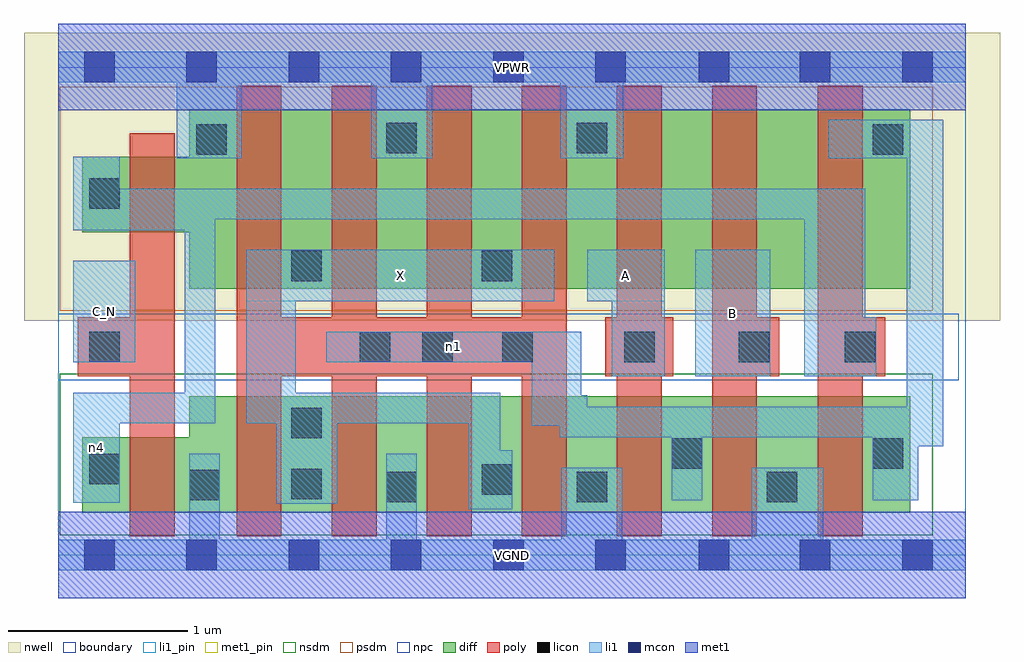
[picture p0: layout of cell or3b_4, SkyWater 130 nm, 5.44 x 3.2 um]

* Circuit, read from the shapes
.subckt or3b_4 A B C_N VGND VPWR X n1 n4
XM1 VGND C_N n4 VSUBS sky130_fd_pr__nfet_01v8 w=0.42 l=0.25
XM2 X n1 VGND VSUBS sky130_fd_pr__nfet_01v8 w=0.65 l=0.25 m=4
XM3 n1 A VGND VSUBS sky130_fd_pr__nfet_01v8 w=0.65 l=0.25
XM4 VGND B n1 VSUBS sky130_fd_pr__nfet_01v8 w=0.65 l=0.25
XM5 n1 n4 VGND VSUBS sky130_fd_pr__nfet_01v8 w=0.65 l=0.25
XM6 VPWR C_N n4 n2 sky130_fd_pr__pfet_01v8 w=0.42 l=0.25
XM7 X n1 VPWR n2 sky130_fd_pr__pfet_01v8 w=1 l=0.25 m=4
XM8 n3 A VPWR n2 sky130_fd_pr__pfet_01v8 w=1 l=0.25
XM9 n5 B n3 n2 sky130_fd_pr__pfet_01v8 w=1 l=0.25
XM10 n1 n4 n5 n2 sky130_fd_pr__pfet_01v8 w=1 l=0.25
.ends

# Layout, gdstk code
import gdstk
lib = gdstk.Library(unit=1e-6, precision=1e-09)
def R(c, l, rs):  # rectangles x0, y0, x1, y1
    for r in rs: c.add(gdstk.rectangle(r[:2], r[2:], *l))
def A(c, l, x, y, w, h, nx, ny, dx, dy):  # array of equal rectangles
    R(c, l, [(x+i*dx, y+j*dy, x+i*dx+w, y+j*dy+h) for i in range(nx) for j in range(ny)])
nwell = (64, 20)
diff = (65, 20)
poly = (66, 20)
licon = (66, 44)
li1_pin = (67, 16)
li1 = (67, 20)
mcon = (67, 44)
met1_pin = (68, 16)
met1 = (68, 20)
nsdm = (93, 44)
psdm = (94, 20)
npc = (95, 20)
boundary = (235, 4)

or3b_4 = lib.new_cell('or3b_4')
R(or3b_4, nwell, [(-0.19,1.305,5.25,2.91), (0,1.305,5.06,2.91)])
R(or3b_4, diff, [(0.135,0.235,4.75,0.655), (0.73,0.235,4.75,0.885), (0.73,1.485,4.75,2.485), (0.135,1.8,4.75,2.22)])
A(or3b_4, poly, 0.995, 0.105, 0.25, 2.51, 6, 1, 0.53, 0)
R(or3b_4, poly, [(0.4,0.105,0.65,2.35), (4.235,0.105,4.485,2.615), (0.11,0.995,0.65,1.325), (0.995,0.995,2.835,1.325), (3.05,0.995,3.43,1.325), (3.645,0.995,4.02,1.325), (4.235,0.995,4.61,1.325)])
A(or3b_4, licon, 1.83, 0.295, 0.17, 0.17, 3, 1, 1.06, 0)
R(or3b_4, licon, [(0.73,0.305,0.9,0.475), (1.3,0.31,1.47,0.48), (2.36,0.335,2.53,0.505), (0.175,0.395,0.345,0.565), (3.42,0.48,3.59,0.65), (4.54,0.48,4.71,0.65), (1.3,0.65,1.47,0.82), (0.175,1.075,0.345,1.245), (1.68,1.075,1.85,1.245), (2.03,1.075,2.2,1.245), (2.475,1.075,2.645,1.245), (3.155,1.075,3.325,1.245), (3.795,1.075,3.965,1.245), (4.385,1.075,4.555,1.245), (1.3,1.525,1.47,1.695), (2.36,1.525,2.53,1.695), (0.175,1.93,0.345,2.1), (0.77,2.23,0.94,2.4), (4.54,2.23,4.71,2.4), (1.83,2.24,2,2.41), (2.89,2.24,3.06,2.41)])
R(or3b_4, li1_pin, [(3.55,0.995,3.97,1.7), (0.085,1.075,0.43,1.64), (1.05,1.415,2.765,1.7), (2.95,1.415,3.38,1.7)])
R(or3b_4, li1, [(0,-0.085,5.06,0.085), (0.73,-0.085,0.9,0.565), (1.83,-0.085,2,0.565), (2.805,-0.085,3.145,0.485), (3.865,-0.085,4.265,0.485), (2.29,0.255,2.465,0.905), (2.29,0.255,2.53,0.585), (1.215,0.285,1.555,0.905), (0.085,0.29,0.345,0.905), (3.42,0.305,3.59,0.825), (4.54,0.305,4.795,0.825), (4.73,0.605,4.935,2.425), (2.795,0.655,4.935,0.825), (2.64,0.72,2.915,1.245), (2.64,0.72,2.95,0.89), (0.085,0.735,0.875,0.905), (0.705,0.735,0.875,2.04), (1.05,0.735,2.465,0.905), (1.05,0.735,1.325,1.7), (3.085,0.995,3.38,1.7), (3.55,0.995,3.97,1.7), (4.16,0.995,4.5,2.04), (4.16,0.995,4.56,1.325), (0.085,1.075,0.43,1.64), (1.495,1.075,2.915,1.245), (1.05,1.415,2.765,1.7), (2.95,1.415,3.38,1.7), (0.085,1.81,0.345,2.22), (0.085,1.81,0.875,2.04), (0.085,1.87,4.5,2.04), (0.66,2.21,1.025,2.805), (1.745,2.21,2.085,2.805), (2.8,2.21,3.15,2.805), (4.295,2.21,4.935,2.425), (0,2.635,5.06,2.805)])
A(or3b_4, mcon, 0.145, -0.085, 0.17, 0.17, 6, 2, 0.57, 2.72)
R(or3b_4, mcon, [(3.57,-0.085,3.74,0.085), (4.135,-0.085,4.305,0.085), (4.705,-0.085,4.875,0.085), (3.57,2.635,3.74,2.805), (4.135,2.635,4.305,2.805), (4.705,2.635,4.875,2.805)])
R(or3b_4, met1_pin, [(0,-0.24,5.06,0.24), (0,2.48,5.06,2.96)])
R(or3b_4, met1, [(0,-0.24,5.06,0.24), (0,2.48,5.06,2.96)])
R(or3b_4, nsdm, [(0.01,0.11,4.875,1.01)])
R(or3b_4, psdm, [(0.01,1.36,4.875,2.61)])
R(or3b_4, npc, [(0,0.975,5.02,1.345)])
R(or3b_4, boundary, [(0,0,5.06,2.72)])
or3b_4.add(gdstk.Label('A', (3.165,1.557), layer=67, texttype=5))
or3b_4.add(gdstk.Label('B', (3.76,1.347), layer=67, texttype=5))
or3b_4.add(gdstk.Label('C_N', (0.257,1.357), layer=67, texttype=5))
or3b_4.add(gdstk.Label('X', (1.907,1.557), layer=67, texttype=5))
or3b_4.add(gdstk.Label('n4', (0.215,0.597), layer=67, texttype=5))
or3b_4.add(gdstk.Label('n1', (2.205,1.16), layer=67, texttype=5))
or3b_4.add(gdstk.Label('VPWR', (2.53,2.72), layer=68, texttype=5))
or3b_4.add(gdstk.Label('VGND', (2.53,0), layer=68, texttype=5))
or3b_4.add(gdstk.Label('A', (3.165,1.557), layer=67, texttype=16))
or3b_4.add(gdstk.Label('B', (3.76,1.347), layer=67, texttype=16))
or3b_4.add(gdstk.Label('C_N', (0.257,1.357), layer=67, texttype=16))
or3b_4.add(gdstk.Label('X', (1.907,1.557), layer=67, texttype=16))
or3b_4.add(gdstk.Label('VPWR', (2.53,2.72), layer=68, texttype=16))
or3b_4.add(gdstk.Label('VGND', (2.53,0), layer=68, texttype=16))

lib.write_gds('or3b_4.gds')
